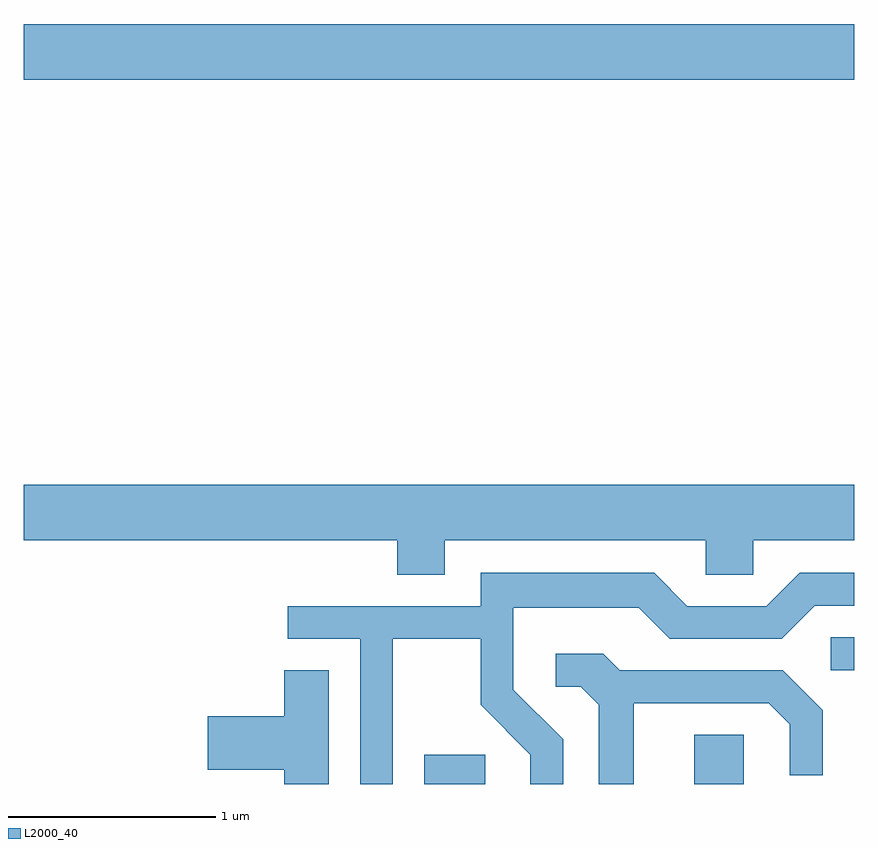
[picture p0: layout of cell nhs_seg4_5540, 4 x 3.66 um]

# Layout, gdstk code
import gdstk
lib = gdstk.Library(unit=1e-6, precision=1e-09)
def R(c, l, rs):  # rectangles x0, y0, x1, y1
    for r in rs: c.add(gdstk.rectangle(r[:2], r[2:], *l))
def P(c, l, *ps):  # polygons
    for p in ps: c.add(gdstk.Polygon(p, *l))
L2000_40 = (2000, 40)

nhs_seg4_5540 = lib.new_cell('nhs_seg4_5540')
R(nhs_seg4_5540, L2000_40, [(349.541,1317.982,349.834,1318.124), (350.841,1317.982,351.079,1318.219), (351.498,1318.531,351.611,1318.689), (347.611,1321.376,351.611,1321.644)])
P(nhs_seg4_5540, L2000_40, [(349.639,1319.156),(350.896,1319.156),(350.896,1318.991),(351.124,1318.991),(351.124,1319.156),(351.611,1319.156),(351.611,1319.424),(347.611,1319.424),(347.611,1319.156),(349.411,1319.156),(349.411,1318.991),(349.639,1318.991)],
  [(349.389,1318.681),(349.811,1318.681),(349.811,1318.364),(350.051,1318.124),(350.051,1317.982),(350.209,1317.982),(350.209,1318.197),(349.969,1318.437),(349.969,1318.831),(350.574,1318.831),(350.724,1318.681),(351.262,1318.681),(351.422,1318.841),(351.611,1318.841),(351.611,1318.999),(351.349,1318.999),(351.189,1318.839),(350.807,1318.839),(350.647,1318.999),(349.811,1318.999),(349.811,1318.839),(348.883,1318.839),(348.883,1318.681),(349.231,1318.681),(349.231,1317.982),(349.389,1317.982)],
  [(350.549,1318.371),(351.199,1318.371),(351.301,1318.269),(351.301,1318.023),(351.459,1318.023),(351.459,1318.337),(351.267,1318.529),(350.482,1318.529),(350.402,1318.609),(350.173,1318.609),(350.173,1318.451),(350.294,1318.451),(350.381,1318.364),(350.381,1317.982),(350.549,1317.982)],
  [(349.079,1318.529),(348.866,1318.529),(348.866,1318.309),(348.496,1318.309),(348.496,1318.051),(348.866,1318.051),(348.866,1317.982),(349.079,1317.982)])

lib.write_gds('nhs_seg4_5540.gds')
